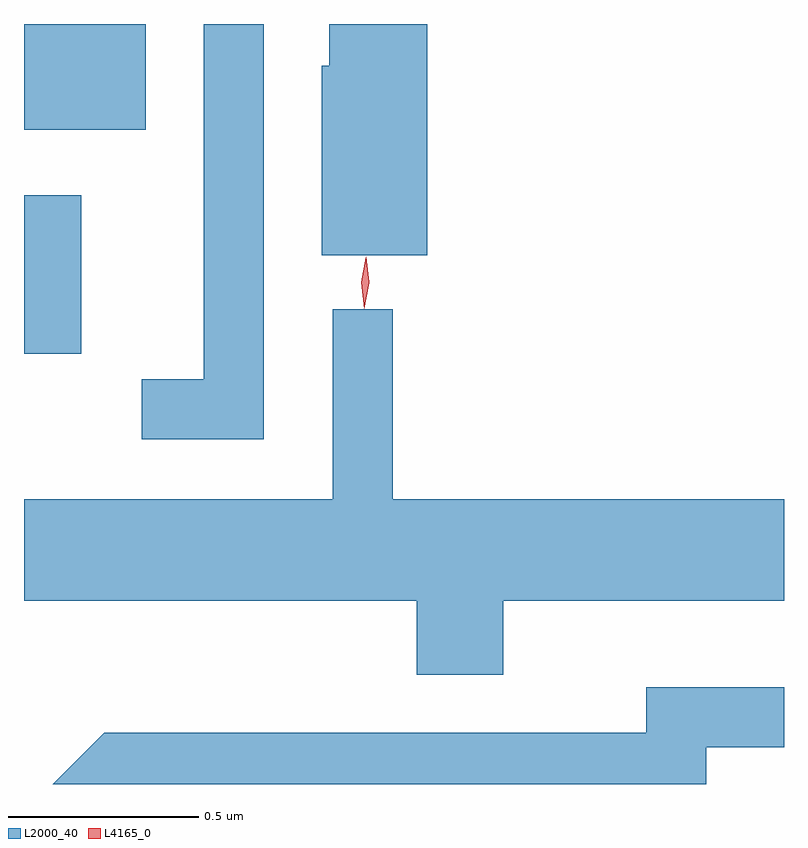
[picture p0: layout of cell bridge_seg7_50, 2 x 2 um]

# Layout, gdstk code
import gdstk
lib = gdstk.Library(unit=1e-6, precision=1e-09)
def R(c, l, rs):  # rectangles x0, y0, x1, y1
    for r in rs: c.add(gdstk.rectangle(r[:2], r[2:], *l))
def P(c, l, *ps):  # polygons
    for p in ps: c.add(gdstk.Polygon(p, *l))
L2000_40 = (2000, 40)
L4165_0 = (4165, 0)

bridge_seg7_50 = lib.new_cell('bridge_seg7_50')
R(bridge_seg7_50, L2000_40, [(1545.353,1750.486,1545.504,1750.903), (1545.353,1751.076,1545.674,1751.354)])
P(bridge_seg7_50, L2000_40, [(1546.414,1751.354),(1546.156,1751.354),(1546.156,1751.244),(1546.136,1751.244),(1546.136,1750.746),(1546.414,1750.746)],
  [(1545.984,1751.354),(1545.826,1751.354),(1545.826,1750.419),(1545.663,1750.419),(1545.663,1750.261),(1545.984,1750.261)],
  [(1546.614,1749.836),(1547.353,1749.836),(1547.353,1750.104),(1546.324,1750.104),(1546.324,1750.603),(1546.166,1750.603),(1546.166,1750.104),(1545.353,1750.104),(1545.353,1749.836),(1546.386,1749.836),(1546.386,1749.641),(1546.614,1749.641)],
  [(1547.149,1749.451),(1547.353,1749.451),(1547.353,1749.609),(1546.991,1749.609),(1546.991,1749.489),(1545.564,1749.489),(1545.428,1749.354),(1547.149,1749.354)])
P(bridge_seg7_50, L4165_0, [(1546.248,1750.608),(1546.241,1750.674),(1546.252,1750.739),(1546.253,1750.74),(1546.253,1750.739),(1546.261,1750.674),(1546.249,1750.608),(1546.249,1750.608)],
  [(1546.248,1750.605),(1546.241,1750.674),(1546.253,1750.742),(1546.254,1750.742),(1546.254,1750.742),(1546.261,1750.673),(1546.249,1750.605),(1546.249,1750.605)])

lib.write_gds('bridge_seg7_50.gds')
